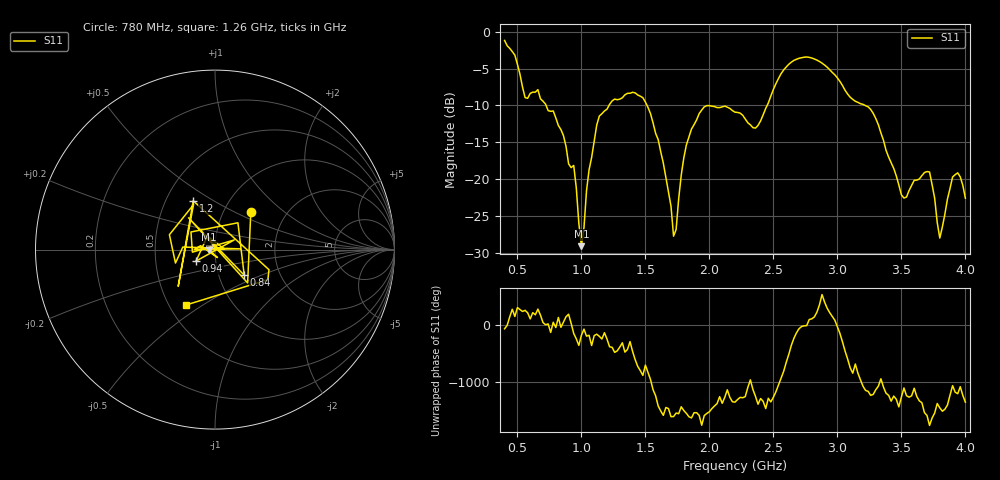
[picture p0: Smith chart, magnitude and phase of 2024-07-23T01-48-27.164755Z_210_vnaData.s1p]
!Created with skrf (http://scikit-rf.org).
# Hz S RI R 50.0
!freq ReS11 ImS11
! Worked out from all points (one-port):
!   181 points, 400 MHz to 4 GHz, reference 50 ohm
!   lowest |S11| = -29.1 dB at 1 GHz (marker M1), VSWR 1.07, Z = 46.6 - j0.0162 ohm
!   |S11| at or under -10 dB: 723.7 MHz to 1.216 GHz (492.4 MHz wide, 50.8 % of centre); 1.512 GHz to 2.452 GHz (939.1 MHz wide, 47.4 % of centre); 3.215 GHz to end of sweep
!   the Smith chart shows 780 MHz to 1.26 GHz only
!   S11 on the Smith chart (normalised r, x): 780 MHz: 1.34, +0.61; 840 MHz: 1.32, -0.40; 940 MHz: 0.80, -0.10; 1.2 GHz: 0.68, +0.41; 1.26 GHz: 0.61, -0.43
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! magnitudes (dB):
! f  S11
! 400 MHz  -1.2
! 560 MHz  -8.9
! 780 MHz  -10.8
! 840 MHz  -13.3
! 860 MHz  -14.1
! 940 MHz  -18.2
! 1 GHz  -29.1
! 1.12 GHz  -12.7
! 1.2 GHz  -10.5
! 1.26 GHz  -9.2
! 1.3 GHz  -9.2
! 1.54 GHz  -11.1
! 1.64 GHz  -17.9
! 1.72 GHz  -27.8
! 1.76 GHz  -22.7
! 1.82 GHz  -15.4
! 1.92 GHz  -11.1
! 2.2 GHz  -10.9
! 2.36 GHz  -13.1
! 2.66 GHz  -3.9
! 3.1 GHz  -8.9
! 3.28 GHz  -11.1
! 3.5 GHz  -22.2
! 3.56 GHz  -21.6
! 3.72 GHz  -19.1
! 3.8 GHz  -28.0
! 3.9 GHz  -19.7
! 4 GHz  -22.6
